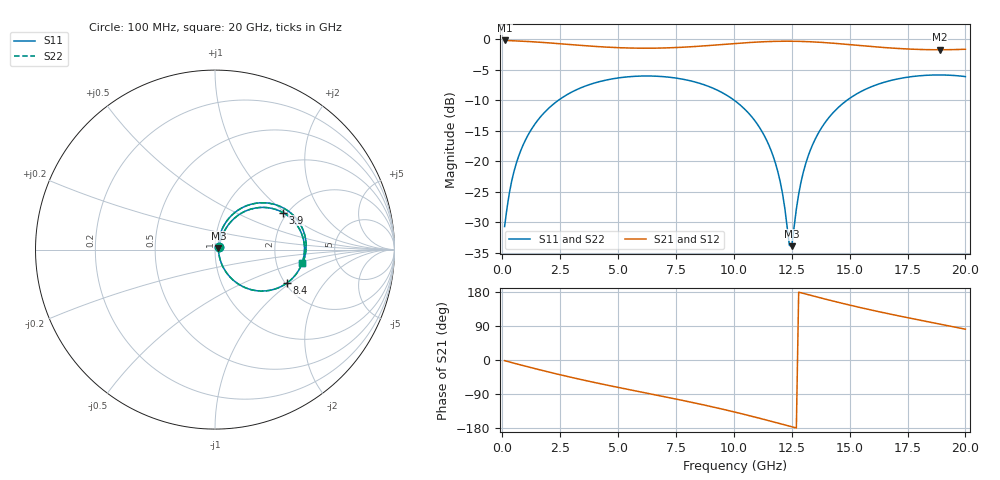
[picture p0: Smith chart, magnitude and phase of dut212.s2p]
! Touchstone file exported from HFSS 2026.1.0
!  File:  C:/ffzhzh/LocalFiles/Ansys_Project_Files/temp_train_TSV_RDL_212_1783062026_18316.aedt
!  Generated:  03:12:50 PM Jul  3, 2026
!  Design:  TSV_RDL
!  Project:  temp_train_TSV_RDL_212_1783062026_18316
! Variables:
!  h_bsmrdl = 2.32um
!  h_ox = 20um
!  h_rdl = 5um
!  h_sub = 95.5um
!  h_tmrdl = 2.05um
!  h_tsv = 95.5um
!  h_via = 3um
!  l_bsmrdl = 959.41um
!  l_sub = 4503.56um
!  l_tmrdl = 267.37um
!  m_sub = 200um
!  pitch = 59.08um
!  r_tsv = 14.61um
!  s_tmrdl = 10um
!  w_bsmrdl = 28.43um
!  w_sub = 500um
!  w_tmrdl = 23.52um
!  x_tsv_center1 = 279.13um
!  x_tsv_center2 = 1266.97um
!  x_tsv_center3 = 1557.86um
!  x_tsv_center4 = 2545.7um
!  x_tsv_center5 = 2836.59um
!  x_tsv_center6 = 3824.43um
# GHz S MA R 50.000000
! Terminal data exported
! Port[1] = TM_RDL1_1_T1
! Port[2] = TM_RDL5_1_T1
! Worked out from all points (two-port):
!   200 points, 100 MHz to 20 GHz, reference 50 ohm
!   highest |S21| = -0.21 dB at 100 MHz (marker M1); lowest = -1.7 dB at 18.9 GHz (marker M2)
!   |S21| within 3 dB of the highest: start of sweep to end of sweep
!   lowest |S11| = -34.0 dB at 12.5 GHz (marker M3), VSWR 1.04, Z = 51.9 + j0.786 ohm
!   |S11| at or under -10 dB: start of sweep to 2.432 GHz; 10.01 GHz to 14.89 GHz (4.886 GHz wide, 39.2 % of centre)
!   |S22| runs from -34.0 to -5.9 dB; largest |S21 - S12| = 2.9e-14
!   S11 on the Smith chart (normalised r, x): 100 MHz: 1.05, +0.03; 3.9 GHz: 1.91, +0.96; 8.4 GHz: 2.04, -0.95; 20 GHz: 2.82, -0.57
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0.1  0.02906 32.3  0.9758 -1.7  0.9758 -1.7  0.02906 32.3
! Gamma 0 0 0 0
! Port Impedance 50 0 50 0
0.3  0.054 56.2  0.973 -5.1  0.973 -5.1  0.054 56.2
0.5  0.0815 61.8  0.9694 -8.4  0.9694 -8.4  0.0815 61.8
1.1  0.1619 61.4  0.9569 -17.9  0.9569 -17.9  0.1619 61.4
2.1  0.2817 50.7  0.9294 -33.2  0.9294 -33.2  0.2818 50.7
3.5  0.4066 33.3  0.8857 -52.9  0.8857 -52.9  0.4066 33.3
3.9  0.4322 28.4  0.8746 -58.3  0.8746 -58.3  0.4322 28.4
6.8  0.4951 -5.8  0.8451 -94.4  0.8451 -94.4  0.4951 -5.9
8.4  0.4413 -25.1  0.8723 -114.6  0.8723 -114.6  0.4413 -25.1
10.1  0.3068 -47.1  0.9224 -138.3  0.9224 -138.3  0.3069 -47.2
11  0.2026 -58.7  0.9466 -152.0  0.9466 -152.0  0.2027 -58.8
11.6  0.1232 -64.6  0.9574 -161.5  0.9574 -161.5  0.1233 -64.6
12  0.06803 -63.6  0.9613 -168.0  0.9613 -168.0  0.06805 -63.7
12.2  0.04118 -55.6  0.962 -171.2  0.962 -171.2  0.04119 -55.7
12.4  0.02035 -18.2  0.962 -174.5  0.962 -174.5  0.02034 -18.4
12.5  0.02005 22.2  0.9617 -176.1  0.9617 -176.1  0.02001 22.1
12.9  0.0672 69.7  0.9584 177.4  0.9584 177.4  0.06717 69.7
13.4  0.136 70.1  0.9501 169.3  0.9501 169.3  0.136 70.1
14.7  0.2959 54.9  0.9127 149.3  0.9127 149.3  0.2959 54.9
16.7  0.4543 29.5  0.8481 121.8  0.8481 121.8  0.4543 29.4
18.9  0.5086 3.8  0.8185 94.7  0.8185 94.7  0.5087 3.7
20  0.4932 -8.9  0.8266 81.3  0.8266 81.3  0.4933 -9.0
